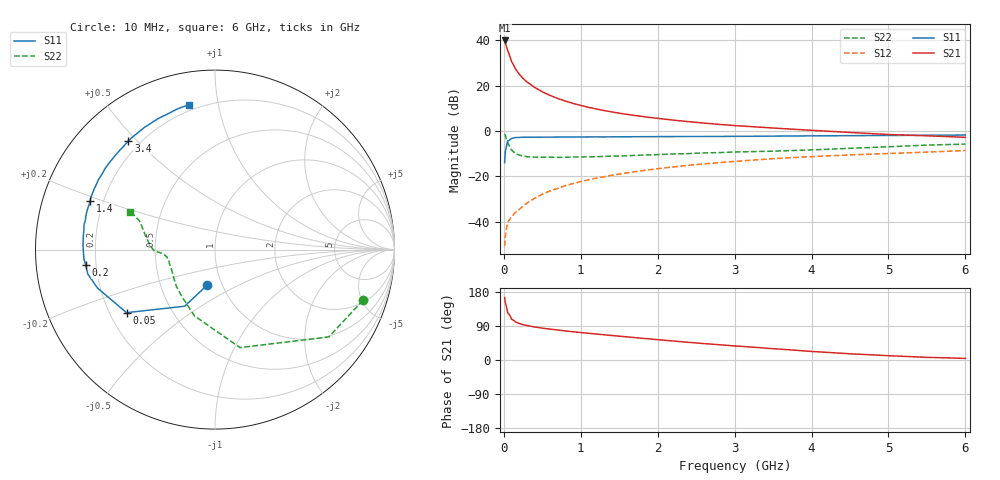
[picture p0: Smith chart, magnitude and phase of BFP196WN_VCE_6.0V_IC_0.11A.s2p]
! Infineon Technologies  Discrete & RF Semiconductors
! BFP196WN
! VCE =  6.0 V,  IC = 0.11 A
! Common Emitter S-Parameters:  Jan 2017
# GHz  S  MA  R  50
!  f  S11  S21  S12  S22
! GHz  MAG  ANG  MAG  ANG  MAG  ANG  MAG  ANG
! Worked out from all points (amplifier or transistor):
!   77 points, 10 MHz to 6 GHz, reference 50 ohm
!   highest |S21| = 40.0 dB at 10 MHz (marker M1)
!   |S21| within 3 dB of that: start of sweep to 36.67 MHz
!   unconditionally stable (mu >= 1): 451.7 MHz to 2.412 GHz
!   at 130 MHz: K = 0.72, MSG = 32.8 dB, |S12| = -36.6 dB
!   at 2.2 GHz: K = 1.02, MAG = 9.5 dB, |S12| = -15.8 dB
!   at 6 GHz: K = 0.91, MSG = 2.9 dB, |S12| = -8.6 dB
!   S11 on the Smith chart (normalised r, x): 10 MHz: 0.85, -0.35; 50 MHz: 0.27, -0.30; 200 MHz: 0.16, -0.06; 1.4 GHz: 0.15, +0.18; 3.4 GHz: 0.16, +0.47; 6 GHz: 0.17, +0.82
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0.01  0.2019 -102.2  99.92 164.9  0.0029 76.0  0.8712 -18.9
0.02  0.3576 -118.2  88.47 150.4  0.0049 67.6  0.7994 -37.5
0.05  0.6052 -144.5  59.8 124.5  0.0096 52.8  0.5633 -75.7
0.1  0.689 -161.9  34.32 107.9  0.0128 55.1  0.386 -107.4
0.15  0.7216 -169.1  23.8 100.6  0.0161 57.6  0.3204 -125.2
0.2  0.7254 -173.1  18.04 96.3  0.0187 61.5  0.2971 -136.3
0.25  0.7319 -175.9  14.52 93.2  0.0224 64.7  0.2829 -143.1
0.3  0.7328 -178.2  12.14 90.9  0.0258 66.2  0.2727 -149.0
0.4  0.7358 178.2  9.173 87.0  0.0328 70.3  0.2665 -155.6
0.5  0.7364 175.6  7.346 84.1  0.0405 70.7  0.2656 -160.3
0.6  0.738 173.3  6.137 81.5  0.0479 71.5  0.2658 -163.7
0.7  0.739 171.2  5.252 79.2  0.0547 73.1  0.264 -166.0
0.9  0.7401 167.1  4.085 74.5  0.0699 72.1  0.2683 -168.9
1.1  0.7447 163.6  3.356 70.5  0.0844 71.7  0.2709 -171.4
1.4  0.7472 158.6  2.66 64.7  0.1059 70.1  0.281 -173.6
1.7  0.7526 153.9  2.219 59.2  0.1274 68.0  0.2912 -175.1
2.1  0.757 147.8  1.829 51.9  0.1551 64.9  0.308 -176.9
3.1  0.7672 132.9  1.294 35.8  0.2209 56.2  0.3494 178.9
3.4  0.7736 128.6  1.2 31.4  0.2399 53.7  0.358 176.9
4.1  0.787 118.8  1.02 21.4  0.2788 47.4  0.3917 169.4
5.1  0.8032 108.0  0.831 10.5  0.3253 39.5  0.4596 158.6
6  0.82 100.3  0.73 4.2  0.373 33.4  0.5177 156.1
